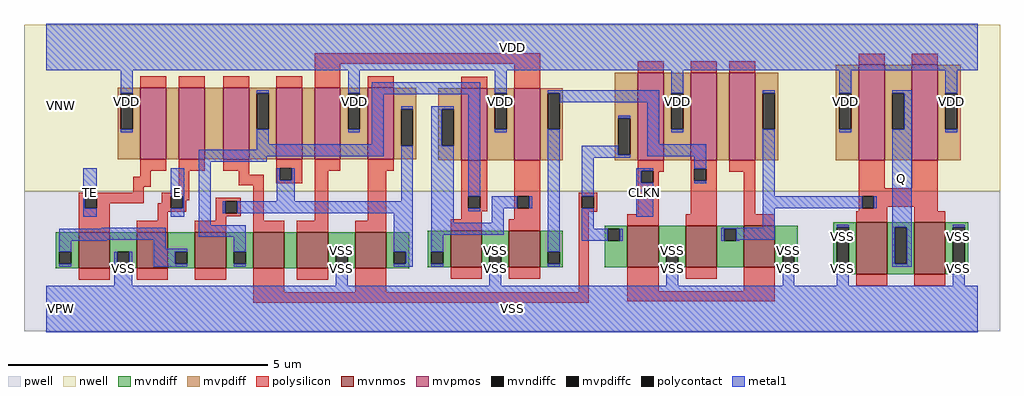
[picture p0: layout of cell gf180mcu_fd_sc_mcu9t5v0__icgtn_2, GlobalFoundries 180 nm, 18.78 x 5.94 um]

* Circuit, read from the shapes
.subckt gf180mcu_fd_sc_mcu9t5v0__icgtn_2 CLKN E TE Q VDD VNW VPW VSS
XM1 VSS TE n1 VPW nfet_06v0 w=0.7u l=0.6u
XM2 n1 E VSS VPW nfet_06v0 w=0.7u l=0.6u
XM3 n2 n3 n1 VPW nfet_06v0 w=0.7u l=0.6u
XM4 n4 n5 n2 VPW nfet_06v0 w=0.7u l=0.6u
XM5 VSS n6 n4 VPW nfet_06v0 w=0.7u l=0.6u
XM6 n3 n5 VSS VPW nfet_06v0 w=0.7u l=0.6u
XM7 VSS n2 n6 VPW nfet_06v0 w=0.7u l=0.6u
XM8 n7 n6 VSS VPW nfet_06v0 w=0.7u l=0.6u
XM9 VSS CLKN n5 VPW nfet_06v0 w=0.8u l=0.6u
XM10 n8 n7 VSS VPW nfet_06v0 w=0.8u l=0.6u
XM11 VSS CLKN n8 VPW nfet_06v0 w=0.8u l=0.6u
XM12 Q n8 VSS VPW nfet_06v0 w=1u l=0.6u m=2
XM13 n9 TE VDD VNW pfet_06v0 w=1.38u l=0.5u
XM14 n10 E n9 VNW pfet_06v0 w=1.38u l=0.5u
XM15 n2 n5 n10 VNW pfet_06v0 w=1.38u l=0.5u
XM16 n11 n3 n2 VNW pfet_06v0 w=1.38u l=0.5u
XM17 VDD n6 n11 VNW pfet_06v0 w=1.38u l=0.5u
XM18 n3 n5 VDD VNW pfet_06v0 w=1.38u l=0.5u
XM19 VDD n2 n6 VNW pfet_06v0 w=1.38u l=0.5u
XM20 n7 n6 VDD VNW pfet_06v0 w=1.38u l=0.5u
XM21 VDD CLKN n5 VNW pfet_06v0 w=1.68u l=0.5u
XM22 n12 n7 VDD VNW pfet_06v0 w=1.68u l=0.5u
XM23 n8 CLKN n12 VNW pfet_06v0 w=1.68u l=0.5u
XM24 Q n8 VDD VNW pfet_06v0 w=1.83u l=0.5u m=2
.ends

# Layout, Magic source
magic
tech gf180mcuD
magscale 1 10
<< nwell >>
rect -86 453 3670 1094
<< pwell >>
rect -86 -86 3670 453
<< mvnmos >>
rect 124 156 244 296
rect 348 156 468 296
rect 572 156 692 296
rect 796 156 916 296
rect 964 156 1084 296
rect 1188 156 1308 296
rect 1556 161 1676 301
rect 1780 161 1900 301
rect 2236 161 2356 321
rect 2460 161 2580 321
rect 2684 161 2804 321
rect 3116 133 3236 333
rect 3340 133 3460 333
<< mvpmos >>
rect 362 576 462 852
rect 510 576 610 852
rect 680 576 780 852
rect 884 576 984 852
rect 1032 576 1132 852
rect 1236 576 1336 852
rect 1596 573 1696 849
rect 1800 573 1900 849
rect 2276 573 2376 909
rect 2480 573 2580 909
rect 2628 573 2728 909
rect 3126 573 3226 939
rect 3330 573 3430 939
<< mvndiff >>
rect 36 220 124 296
rect 36 174 49 220
rect 95 174 124 220
rect 36 156 124 174
rect 244 220 348 296
rect 244 174 273 220
rect 319 174 348 220
rect 244 156 348 174
rect 468 220 572 296
rect 468 174 497 220
rect 543 174 572 220
rect 468 156 572 174
rect 692 220 796 296
rect 692 174 721 220
rect 767 174 796 220
rect 692 156 796 174
rect 916 156 964 296
rect 1084 220 1188 296
rect 1084 174 1113 220
rect 1159 174 1188 220
rect 1084 156 1188 174
rect 1308 220 1396 296
rect 1308 174 1337 220
rect 1383 174 1396 220
rect 1308 156 1396 174
rect 1468 220 1556 301
rect 1468 174 1481 220
rect 1527 174 1556 220
rect 1468 161 1556 174
rect 1676 220 1780 301
rect 1676 174 1705 220
rect 1751 174 1780 220
rect 1676 161 1780 174
rect 1900 220 1988 301
rect 1900 174 1929 220
rect 1975 174 1988 220
rect 1900 161 1988 174
rect 2148 308 2236 321
rect 2148 262 2161 308
rect 2207 262 2236 308
rect 2148 161 2236 262
rect 2356 220 2460 321
rect 2356 174 2385 220
rect 2431 174 2460 220
rect 2356 161 2460 174
rect 2580 308 2684 321
rect 2580 262 2609 308
rect 2655 262 2684 308
rect 2580 161 2684 262
rect 2804 220 2892 321
rect 2804 174 2833 220
rect 2879 174 2892 220
rect 2804 161 2892 174
rect 3028 314 3116 333
rect 3028 174 3041 314
rect 3087 174 3116 314
rect 3028 133 3116 174
rect 3236 314 3340 333
rect 3236 174 3265 314
rect 3311 174 3340 314
rect 3236 133 3340 174
rect 3460 314 3548 333
rect 3460 174 3489 314
rect 3535 174 3548 314
rect 3460 133 3548 174
<< mvpdiff >>
rect 274 831 362 852
rect 274 691 287 831
rect 333 691 362 831
rect 274 576 362 691
rect 462 576 510 852
rect 610 576 680 852
rect 780 831 884 852
rect 780 691 809 831
rect 855 691 884 831
rect 780 576 884 691
rect 984 576 1032 852
rect 1132 831 1236 852
rect 1132 691 1161 831
rect 1207 691 1236 831
rect 1132 576 1236 691
rect 1336 769 1424 852
rect 1336 629 1365 769
rect 1411 629 1424 769
rect 1336 576 1424 629
rect 1508 769 1596 849
rect 1508 629 1521 769
rect 1567 629 1596 769
rect 1508 573 1596 629
rect 1696 831 1800 849
rect 1696 691 1725 831
rect 1771 691 1800 831
rect 1696 573 1800 691
rect 1900 831 1988 849
rect 1900 691 1929 831
rect 1975 691 1988 831
rect 1900 573 1988 691
rect 2188 733 2276 909
rect 2188 593 2201 733
rect 2247 593 2276 733
rect 2188 573 2276 593
rect 2376 831 2480 909
rect 2376 691 2405 831
rect 2451 691 2480 831
rect 2376 573 2480 691
rect 2580 573 2628 909
rect 2728 831 2816 909
rect 2728 691 2757 831
rect 2803 691 2816 831
rect 2728 573 2816 691
rect 3038 831 3126 939
rect 3038 691 3051 831
rect 3097 691 3126 831
rect 3038 573 3126 691
rect 3226 831 3330 939
rect 3226 691 3255 831
rect 3301 691 3330 831
rect 3226 573 3330 691
rect 3430 831 3518 939
rect 3430 691 3459 831
rect 3505 691 3518 831
rect 3430 573 3518 691
<< mvndiffc >>
rect 49 174 95 220
rect 273 174 319 220
rect 497 174 543 220
rect 721 174 767 220
rect 1113 174 1159 220
rect 1337 174 1383 220
rect 1481 174 1527 220
rect 1705 174 1751 220
rect 1929 174 1975 220
rect 2161 262 2207 308
rect 2385 174 2431 220
rect 2609 262 2655 308
rect 2833 174 2879 220
rect 3041 174 3087 314
rect 3265 174 3311 314
rect 3489 174 3535 314
<< mvpdiffc >>
rect 287 691 333 831
rect 809 691 855 831
rect 1161 691 1207 831
rect 1365 629 1411 769
rect 1521 629 1567 769
rect 1725 691 1771 831
rect 1929 691 1975 831
rect 2201 593 2247 733
rect 2405 691 2451 831
rect 2757 691 2803 831
rect 3051 691 3097 831
rect 3255 691 3301 831
rect 3459 691 3505 831
<< polysilicon >>
rect 1032 944 1900 984
rect 362 852 462 896
rect 510 852 610 896
rect 680 852 780 896
rect 884 852 984 896
rect 1032 852 1132 944
rect 1236 852 1336 896
rect 1596 849 1696 893
rect 1800 849 1900 944
rect 2276 909 2376 953
rect 2480 909 2580 953
rect 2628 909 2728 953
rect 3126 939 3226 983
rect 3330 939 3430 983
rect 362 532 462 576
rect 510 532 610 576
rect 680 532 780 576
rect 362 509 402 532
rect 335 471 402 509
rect 335 447 375 471
rect 510 447 550 532
rect 740 516 780 532
rect 884 542 984 576
rect 740 476 836 516
rect 884 496 898 542
rect 944 496 984 542
rect 884 483 984 496
rect 1032 532 1132 576
rect 1236 532 1336 576
rect 124 434 375 447
rect 124 388 148 434
rect 194 407 375 434
rect 444 434 550 447
rect 444 407 478 434
rect 194 388 244 407
rect 124 296 244 388
rect 428 388 478 407
rect 524 419 550 434
rect 524 388 539 419
rect 428 375 539 388
rect 652 415 748 428
rect 428 340 468 375
rect 652 369 689 415
rect 735 369 748 415
rect 652 356 748 369
rect 652 340 692 356
rect 348 296 468 340
rect 572 296 692 340
rect 796 340 836 476
rect 1032 340 1084 532
rect 1236 340 1308 532
rect 1596 434 1696 573
rect 1596 388 1623 434
rect 1669 388 1696 434
rect 1596 377 1696 388
rect 1800 434 1900 573
rect 2276 531 2376 573
rect 2276 485 2289 531
rect 2335 529 2376 531
rect 2480 540 2580 573
rect 2335 485 2356 529
rect 1800 388 1813 434
rect 1859 388 1900 434
rect 1596 345 1676 377
rect 1800 345 1900 388
rect 796 296 916 340
rect 964 296 1084 340
rect 1188 296 1308 340
rect 1556 301 1676 345
rect 1780 301 1900 345
rect 2048 434 2120 447
rect 2048 388 2061 434
rect 2107 388 2120 434
rect 2048 375 2120 388
rect 124 112 244 156
rect 348 112 468 156
rect 572 112 692 156
rect 796 64 916 156
rect 964 112 1084 156
rect 1188 64 1308 156
rect 1556 117 1676 161
rect 1780 117 1900 161
rect 2048 64 2088 375
rect 2276 365 2356 485
rect 2480 494 2493 540
rect 2539 494 2580 540
rect 2628 529 2728 573
rect 2480 365 2580 494
rect 2236 321 2356 365
rect 2460 321 2580 365
rect 2684 365 2728 529
rect 3126 465 3226 573
rect 3330 465 3430 573
rect 3126 434 3430 465
rect 3126 388 3139 434
rect 3185 393 3430 434
rect 3185 388 3236 393
rect 3126 377 3236 388
rect 2684 321 2804 365
rect 3116 333 3236 377
rect 3340 377 3430 393
rect 3340 333 3460 377
rect 796 24 2088 64
rect 2236 69 2356 161
rect 2460 117 2580 161
rect 2684 69 2804 161
rect 3116 89 3236 133
rect 3340 89 3460 133
rect 2236 29 2804 69
<< polycontact >>
rect 898 496 944 542
rect 148 388 194 434
rect 478 388 524 434
rect 689 369 735 415
rect 1623 388 1669 434
rect 2289 485 2335 531
rect 1813 388 1859 434
rect 2061 388 2107 434
rect 2493 494 2539 540
rect 3139 388 3185 434
<< metal1 >>
rect 0 918 3584 1098
rect 287 831 333 918
rect 287 680 333 691
rect 809 831 855 842
rect 809 634 855 691
rect 1161 831 1207 918
rect 1161 680 1207 691
rect 1253 826 1669 872
rect 1253 634 1299 826
rect 809 613 1299 634
rect 586 588 1299 613
rect 1365 769 1411 780
rect 586 567 848 588
rect 142 434 194 542
rect 142 388 148 434
rect 142 354 194 388
rect 478 434 530 542
rect 524 388 530 434
rect 478 354 530 388
rect 586 323 632 567
rect 887 496 898 542
rect 944 496 955 542
rect 887 415 955 496
rect 1365 415 1411 629
rect 678 369 689 415
rect 735 369 1411 415
rect 213 308 459 312
rect 49 266 459 308
rect 586 277 767 323
rect 49 262 232 266
rect 49 220 95 262
rect 413 231 459 266
rect 413 220 543 231
rect 49 163 95 174
rect 262 174 273 220
rect 319 174 330 220
rect 262 90 330 174
rect 413 174 497 220
rect 413 163 543 174
rect 721 220 767 277
rect 721 163 767 174
rect 1113 220 1159 231
rect 1113 90 1159 174
rect 1337 220 1411 369
rect 1383 174 1411 220
rect 1337 163 1411 174
rect 1481 769 1567 780
rect 1481 629 1521 769
rect 1481 331 1567 629
rect 1623 434 1669 826
rect 1725 831 1771 918
rect 1725 680 1771 691
rect 1929 831 2359 842
rect 1975 796 2359 831
rect 1623 377 1669 388
rect 1715 388 1813 434
rect 1859 388 1870 434
rect 1715 331 1761 388
rect 1481 285 1761 331
rect 1481 220 1527 285
rect 1481 163 1527 174
rect 1705 220 1751 231
rect 1705 90 1751 174
rect 1929 220 1975 691
rect 2201 733 2247 744
rect 2061 593 2201 628
rect 2061 582 2247 593
rect 2313 634 2359 796
rect 2405 831 2451 918
rect 2405 680 2451 691
rect 2757 831 2803 842
rect 2313 588 2539 634
rect 2061 434 2107 582
rect 2061 308 2107 388
rect 2270 531 2335 542
rect 2270 485 2289 531
rect 2270 354 2335 485
rect 2493 540 2539 588
rect 2493 483 2539 494
rect 2757 434 2803 691
rect 3051 831 3097 918
rect 3051 680 3097 691
rect 3255 831 3330 842
rect 3301 691 3330 831
rect 2757 388 3139 434
rect 3185 388 3196 434
rect 2757 312 2803 388
rect 2598 308 2803 312
rect 2061 262 2161 308
rect 2207 262 2218 308
rect 2598 262 2609 308
rect 2655 266 2803 308
rect 3041 314 3087 325
rect 2655 262 2666 266
rect 1929 163 1975 174
rect 2385 220 2431 231
rect 2385 90 2431 174
rect 2833 220 2879 231
rect 2833 90 2879 174
rect 3041 90 3087 174
rect 3255 314 3330 691
rect 3459 831 3505 918
rect 3459 680 3505 691
rect 3255 174 3265 314
rect 3311 174 3330 314
rect 3255 163 3330 174
rect 3489 314 3535 325
rect 3489 90 3535 174
rect 0 -90 3584 90
<< labels >>
flabel metal1 s 2270 354 2335 542 0 FreeSans 200 0 0 0 CLKN
port 1 nsew clock input
flabel metal1 s 478 354 530 542 0 FreeSans 200 0 0 0 E
port 2 nsew default input
flabel metal1 s 3255 163 3330 842 0 FreeSans 200 0 0 0 Q
port 4 nsew default output
flabel metal1 s 142 354 194 542 0 FreeSans 200 0 0 0 TE
port 3 nsew default input
flabel metal1 s 0 918 3584 1098 0 FreeSans 200 0 0 0 VDD
port 5 nsew power bidirectional abutment
flabel metal1 s 3489 231 3535 325 0 FreeSans 200 0 0 0 VSS
port 8 nsew ground bidirectional abutment
flabel nwell s 10 734 110 834 0 FreeSans 400 0 0 0 VNW
port 6 nsew power bidirectional
flabel pwell s 10 -50 110 50 0 FreeSans 400 0 0 0 VPW
port 7 nsew ground bidirectional
rlabel metal1 s 3459 680 3505 918 1 VDD
port 5 nsew power bidirectional abutment
rlabel metal1 s 3051 680 3097 918 1 VDD
port 5 nsew power bidirectional abutment
rlabel metal1 s 2405 680 2451 918 1 VDD
port 5 nsew power bidirectional abutment
rlabel metal1 s 1725 680 1771 918 1 VDD
port 5 nsew power bidirectional abutment
rlabel metal1 s 1161 680 1207 918 1 VDD
port 5 nsew power bidirectional abutment
rlabel metal1 s 287 680 333 918 1 VDD
port 5 nsew power bidirectional abutment
rlabel metal1 s 3041 231 3087 325 1 VSS
port 8 nsew ground bidirectional abutment
rlabel metal1 s 3489 220 3535 231 1 VSS
port 8 nsew ground bidirectional abutment
rlabel metal1 s 3041 220 3087 231 1 VSS
port 8 nsew ground bidirectional abutment
rlabel metal1 s 2833 220 2879 231 1 VSS
port 8 nsew ground bidirectional abutment
rlabel metal1 s 2385 220 2431 231 1 VSS
port 8 nsew ground bidirectional abutment
rlabel metal1 s 1705 220 1751 231 1 VSS
port 8 nsew ground bidirectional abutment
rlabel metal1 s 1113 220 1159 231 1 VSS
port 8 nsew ground bidirectional abutment
rlabel metal1 s 3489 90 3535 220 1 VSS
port 8 nsew ground bidirectional abutment
rlabel metal1 s 3041 90 3087 220 1 VSS
port 8 nsew ground bidirectional abutment
rlabel metal1 s 2833 90 2879 220 1 VSS
port 8 nsew ground bidirectional abutment
rlabel metal1 s 2385 90 2431 220 1 VSS
port 8 nsew ground bidirectional abutment
rlabel metal1 s 1705 90 1751 220 1 VSS
port 8 nsew ground bidirectional abutment
rlabel metal1 s 1113 90 1159 220 1 VSS
port 8 nsew ground bidirectional abutment
rlabel metal1 s 262 90 330 220 1 VSS
port 8 nsew ground bidirectional abutment
rlabel metal1 s 0 -90 3584 90 1 VSS
port 8 nsew ground bidirectional abutment
<< properties >>
string FIXED_BBOX 0 0 3584 1008
string GDS_END 835924
string GDS_FILE $PDKPATH/libs.ref/gf180mcu_fd_sc_mcu9t5v0/gds/gf180mcu_fd_sc_mcu9t5v0.gds
string GDS_START 827488
string LEFclass core
string LEFsite GF018hv5v_green_sc9
string LEFsymmetry X Y
<< end >>
